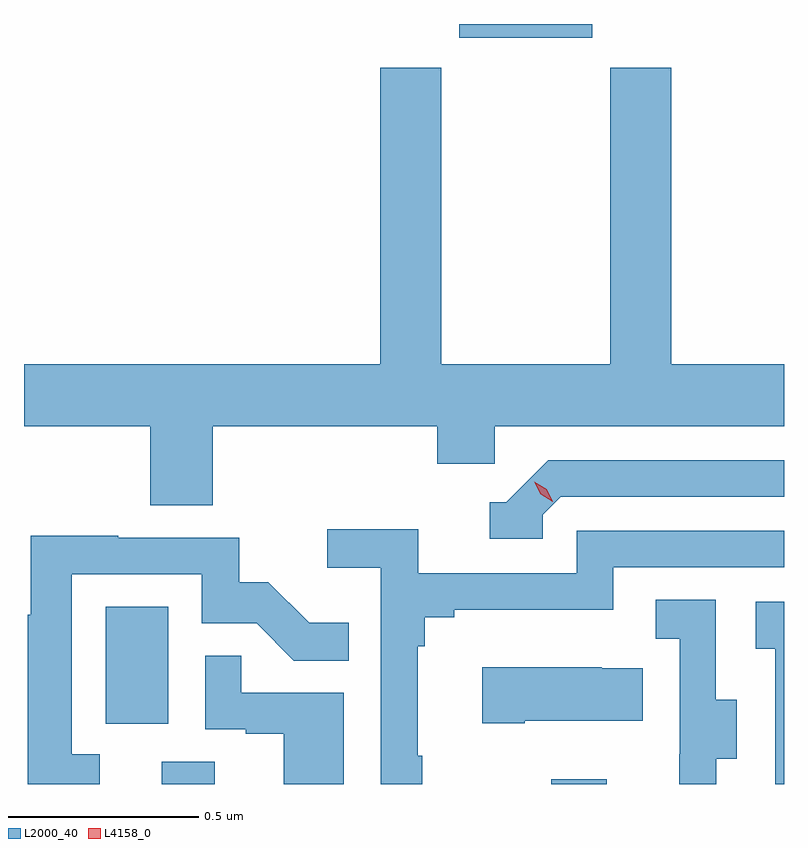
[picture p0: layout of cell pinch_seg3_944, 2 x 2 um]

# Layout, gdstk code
import gdstk
lib = gdstk.Library(unit=1e-6, precision=1e-09)
def R(c, l, rs):  # rectangles x0, y0, x1, y1
    for r in rs: c.add(gdstk.rectangle(r[:2], r[2:], *l))
def P(c, l, *ps):  # polygons
    for p in ps: c.add(gdstk.Polygon(p, *l))
L2000_40 = (2000, 40)
L4158_0 = (4158, 0)

pinch_seg3_944 = lib.new_cell('pinch_seg3_944')
R(pinch_seg3_944, L2000_40, [(881.195,673.335,881.335,673.394), (882.22,673.335,882.367,673.348), (881.048,673.494,881.212,673.801), (881.978,675.299,882.328,675.335)])
P(pinch_seg3_944, L2000_40, [(881.33,674.276),(881.921,674.276),(881.921,674.178),(882.072,674.178),(882.072,674.276),(882.833,674.276),(882.833,674.44),(882.536,674.44),(882.536,675.22),(882.376,675.22),(882.376,674.44),(881.931,674.44),(881.931,675.22),(881.771,675.22),(881.771,674.44),(880.833,674.44),(880.833,674.276),(881.165,674.276),(881.165,674.068),(881.33,674.068)],
  [(882.198,674.043),(882.246,674.091),(882.833,674.091),(882.833,674.187),(882.213,674.187),(882.102,674.076),(882.059,674.076),(882.059,673.98),(882.198,673.98)],
  [(881.881,673.409),(881.869,673.409),(881.869,673.697),(881.888,673.697),(881.888,673.774),(881.965,673.774),(881.965,673.793),(882.384,673.793),(882.384,673.905),(882.833,673.905),(882.833,674.001),(882.288,674.001),(882.288,673.89),(881.87,673.89),(881.87,674.006),(881.631,674.006),(881.631,673.904),(881.772,673.904),(881.772,673.335),(881.881,673.335)],
  [(881.032,673.413),(880.959,673.413),(880.959,673.887),(881.301,673.887),(881.301,673.758),(881.445,673.758),(881.543,673.66),(881.687,673.66),(881.687,673.759),(881.583,673.759),(881.476,673.866),(881.4,673.866),(881.4,673.983),(881.081,673.983),(881.081,673.988),(880.851,673.988),(880.851,673.78),(880.843,673.78),(880.843,673.335),(881.032,673.335)],
  [(882.655,673.402),(882.709,673.402),(882.709,673.557),(882.654,673.557),(882.654,673.82),(882.495,673.82),(882.495,673.717),(882.558,673.717),(882.558,673.413),(882.557,673.413),(882.557,673.335),(882.655,673.335)],
  [(882.833,673.815),(882.759,673.815),(882.759,673.691),(882.81,673.691),(882.81,673.335),(882.833,673.335)],
  [(881.674,673.575),(881.405,673.575),(881.405,673.673),(881.31,673.673),(881.31,673.479),(881.417,673.479),(881.417,673.467),(881.516,673.467),(881.516,673.335),(881.674,673.335)],
  [(882.151,673.502),(882.461,673.502),(882.461,673.639),(882.353,673.639),(882.353,673.642),(882.039,673.642),(882.039,673.495),(882.151,673.495)])
P(pinch_seg3_944, L4158_0, [(882.224,674.078),(882.193,674.098),(882.176,674.13),(882.176,674.131),(882.176,674.131),(882.208,674.111),(882.224,674.078),(882.224,674.078)])

lib.write_gds('pinch_seg3_944.gds')
